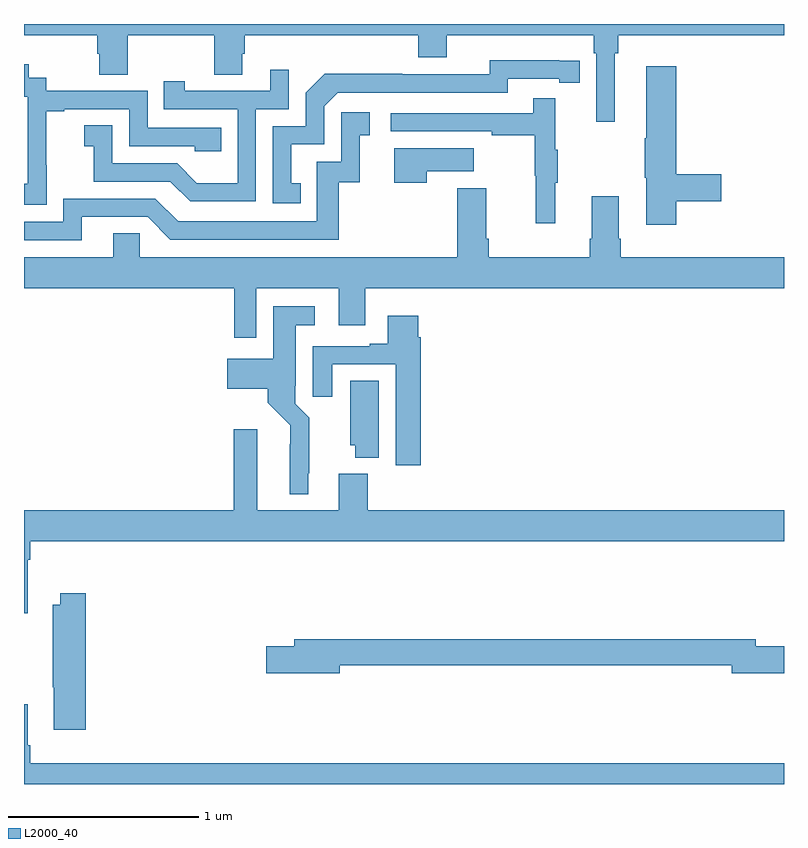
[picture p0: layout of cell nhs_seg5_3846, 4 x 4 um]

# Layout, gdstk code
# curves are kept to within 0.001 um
import gdstk
lib = gdstk.Library(unit=1e-6, precision=1e-09)
def P(c, l, *ps):  # polygons
    for p in ps: c.add(gdstk.Polygon(p, *l))
L2000_40 = (2000, 40)

nhs_seg5_3846 = lib.new_cell('nhs_seg5_3846')
P(nhs_seg5_3846, L2000_40, [(340.108,876.644),(340.127,876.644),(340.127,876.74),(341,876.74),(341,876.799),(337,876.799),(337,876.74),(337.385,876.74),(337.385,876.642),(337.397,876.642),(337.397,876.532),(337.545,876.532),(337.545,876.74),(338.002,876.74),(338.002,876.532),(338.149,876.532),(338.149,876.642),(338.162,876.642),(338.162,876.74),(339.074,876.74),(339.074,876.623),(339.226,876.623),(339.226,876.74),(339.998,876.74),(339.998,876.644),(340.011,876.644),(340.011,876.285),(340.108,876.285)],
  [(338.456,875.961),(338.407,875.961),(338.407,876.165),(338.58,876.165),(338.58,876.366),(338.652,876.438),(339.546,876.438),(339.546,876.51),(339.818,876.51),(339.818,876.49),(339.926,876.49),(339.926,876.606),(339.45,876.607),(339.45,876.534),(338.99,876.534),(338.99,876.536),(338.582,876.536),(338.484,876.438),(338.484,876.261),(338.31,876.261),(338.31,875.856),(338.456,875.856)],
  [(337.119,876.055),(337.118,876.055),(337.118,876.339),(337.213,876.339),(337.213,876.351),(337.554,876.351),(337.554,876.156),(337.899,876.156),(337.899,876.129),(338.039,876.129),(338.039,876.252),(337.65,876.252),(337.65,876.447),(337.116,876.447),(337.116,876.516),(337.024,876.516),(337.024,876.586),(337,876.586),(337,876.417),(337.02,876.417),(337.02,876.188),(337.019,876.188),(337.019,875.959),(337,875.959),(337,875.849),(337.119,875.849)],
  [(340.433,875.866),(340.669,875.866),(340.669,876.008),(340.433,876.008),(340.433,876.577),(340.274,876.577),(340.274,876.197),(340.267,876.197),(340.267,875.991),(340.274,875.991),(340.274,875.742),(340.433,875.742)],
  [(338.22,876.351),(338.394,876.351),(338.394,876.559),(338.297,876.559),(338.297,876.447),(337.846,876.447),(337.846,876.499),(337.735,876.499),(337.735,876.351),(338.124,876.351),(338.124,875.962),(337.91,875.962),(337.806,876.066),(337.464,876.066),(337.464,876.265),(337.317,876.265),(337.317,876.155),(337.366,876.155),(337.366,875.97),(337.769,875.97),(337.874,875.865),(338.22,875.865)],
  [(339.797,875.963),(339.808,875.963),(339.808,876.137),(339.797,876.137),(339.797,876.409),(339.679,876.409),(339.679,876.33),(338.931,876.33),(338.931,876.234),(339.463,876.234),(339.463,876.214),(339.687,876.214),(339.687,876),(339.694,876),(339.694,875.751),(339.797,875.751)],
  [(337.303,875.784),(337.65,875.784),(337.77,875.664),(338.657,875.664),(338.657,875.967),(338.768,875.967),(338.768,876.213),(338.821,876.213),(338.821,876.334),(338.67,876.334),(338.67,876.075),(338.541,876.075),(338.541,875.76),(337.812,875.76),(337.692,875.88),(337.206,875.88),(337.206,875.757),(337,875.757),(337,875.661),(337.303,875.661)],
  [(339.119,876.023),(339.367,876.023),(339.367,876.145),(338.948,876.145),(338.948,875.964),(339.119,875.964)],
  [(338.223,875.408),(338.657,875.408),(338.657,875.214),(338.797,875.214),(338.797,875.408),(341,875.408),(341,875.572),(340.142,875.572),(340.142,875.668),(340.129,875.668),(340.129,875.893),(339.989,875.893),(339.989,875.668),(339.977,875.668),(339.977,875.572),(339.446,875.572),(339.446,875.668),(339.433,875.668),(339.433,875.935),(339.281,875.935),(339.281,875.572),(337.608,875.572),(337.608,875.699),(337.469,875.699),(337.469,875.572),(337,875.572),(337,875.408),(338.107,875.408),(338.107,875.148),(338.223,875.148)],
  [(338.497,874.435),(338.501,874.435),(338.501,874.726),(338.427,874.8),(338.427,874.894),(338.431,874.894),(338.431,875.213),(338.53,875.213),(338.53,875.314),(338.312,875.314),(338.312,875.038),(338.07,875.038),(338.07,874.88),(338.282,874.88),(338.282,874.806),(338.4,874.688),(338.399,874.325),(338.497,874.325)],
  [(339.089,875.15),(339.076,875.15),(339.076,875.263),(338.915,875.263),(338.915,875.116),(338.819,875.116),(338.819,875.103),(338.519,875.103),(338.519,874.836),(338.623,874.836),(338.623,875.007),(338.957,875.007),(338.957,874.476),(339.089,874.476)],
  [(338.866,874.922),(338.717,874.922),(338.717,874.581),(338.744,874.581),(338.744,874.517),(338.866,874.517)],
  [(337.021,873.98),(337.034,873.98),(337.034,874.076),(341,874.076),(341,874.24),(338.81,874.24),(338.81,874.432),(338.657,874.432),(338.657,874.24),(338.227,874.24),(338.227,874.666),(338.105,874.666),(338.105,874.24),(337,874.24),(337,873.699),(337.021,873.699)],
  [(337.325,873.802),(337.19,873.802),(337.19,873.742),(337.15,873.742),(337.15,873.307),(337.157,873.307),(337.157,873.084),(337.325,873.084)],
  [(338.662,873.424),(340.724,873.424),(340.724,873.382),(341,873.382),(341,873.524),(340.852,873.524),(340.852,873.56),(338.423,873.56),(338.423,873.524),(338.274,873.524),(338.274,873.382),(338.662,873.382)],
  [(341,872.908),(337.034,872.908),(337.034,873.004),(337.021,873.004),(337.021,873.22),(337,873.22),(337,872.799),(341,872.799)])

lib.write_gds('nhs_seg5_3846.gds')
